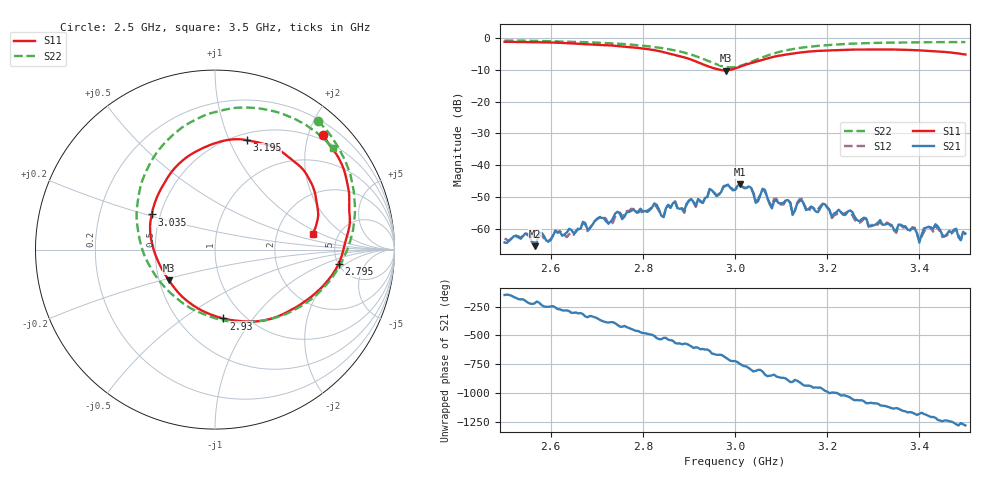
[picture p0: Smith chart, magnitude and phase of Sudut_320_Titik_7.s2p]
# Hz S RI R 50
! CMT, C1220, 16058040, 17.2.0/1
! Date: 15/08/2018 10:11:37
! Data: Format (Calibration Info)
! Freq  S11: Re/Im (F2)  S21: Re/Im (F2)  S12: Re/Im (F2)  S22: Re/Im (F2)
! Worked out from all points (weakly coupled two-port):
!   201 points, 2.5 GHz to 3.5 GHz, reference 50 ohm
!   highest |S21| = -46.06 dB at 3.01 GHz (marker M1); lowest = -65.5 dB at 2.565 GHz (marker M2)
!   lowest |S11| = -10.2 dB at 2.98 GHz (marker M3), VSWR 1.89, Z = 28.1 - j10.6 ohm
!   |S11| at or under -10 dB: 2.968 GHz to 2.99 GHz (22.08 MHz wide, 0.741 % of centre)
!   |S22| runs from -9.2 to -0.7 dB; largest |S21 - S12| = 0.00033
!   S11 on the Smith chart (normalised r, x): 2.5 GHz: 0.42, +2.25; 2.795 GHz: 5.06, -1.52; 2.93 GHz: 0.81, -0.73; 3.035 GHz: 0.45, +0.21; 3.195 GHz: 0.57, +1.16; 3.5 GHz: 3.24, +0.80
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2.5e9  0.5999 0.636  -0.000522 -0.000308  -0.000574 -0.0004  0.573 0.717
2.545e9  0.6467 0.5705  -0.000793 0.00028  -0.000806 0.000248  0.6246 0.6613
2.565e9  0.6684 0.5423  -0.000393 0.000355  -0.000372 0.000411  0.646 0.6338
2.67e9  0.7468 0.3169  0.000904 0.000909  0.000921 0.000806  0.7454 0.4428
2.795e9  0.6895 -0.0779  -0.000824 -0.00189  -0.000802 -0.00177  0.7617 0.0785
2.835e9  0.5846 -0.2206  -0.00198 -0.000264  -0.00189 -0.000286  0.7032 -0.0748
2.93e9  0.0473 -0.3838  -0.000554 0.0025  -0.000634 0.00245  0.2583 -0.3967
2.98e9  -0.2575 -0.1702  0.00428 0.00209  0.00416 0.00223  -0.1421 -0.3234
3e9  -0.33 -0.0344  0.00407 -0.00022  0.00404 -0.000436  -0.2783 -0.2116
3.01e9  -0.3507 0.0337  0.00447 -0.00219  0.0043 -0.00199  -0.3338 -0.142
3.035e9  -0.3525 0.1958  0.000873 -0.00432  0.00094 -0.00431  -0.4191 0.0528
3.045e9  -0.3367 0.2566  8.17e-05 -0.00255  0.000105 -0.00272  -0.4327 0.1325
3.065e9  -0.2831 0.3695  -0.002 -0.00354  -0.00183 -0.00342  -0.4275 0.2877
3.08e9  -0.2366 0.4396  -0.00127 -0.00165  -0.00135 -0.00183  -0.4024 0.3917
3.17e9  0.0971 0.6138  -0.00124 0.00169  -0.0014 0.00162  -0.0759 0.7398
3.195e9  0.1773 0.6096  -0.00041 0.00239  -0.000275 0.00245  0.0165 0.7702
3.21e9  0.2224 0.601  0.000169 0.00151  0.000329 0.00143  0.0709 0.7827
3.335e9  0.493 0.4434  0.000841 -0.000819  0.000772 -0.000889  0.4081 0.7439
3.39e9  0.55 0.3384  -0.000187 -0.000981  -0.000252 -0.001  0.5105 0.6922
3.4e9  0.5563 0.3181  -0.00012 -0.000592  -0.000176 -0.00062  0.5263 0.6804
3.435e9  0.5712 0.2325  -0.000838 -0.000821  -0.000799 -0.000755  0.5792 0.6408
3.5e9  0.545 0.0857  -0.000776 0.000309  -0.000716 0.000379  0.6575 0.5637
